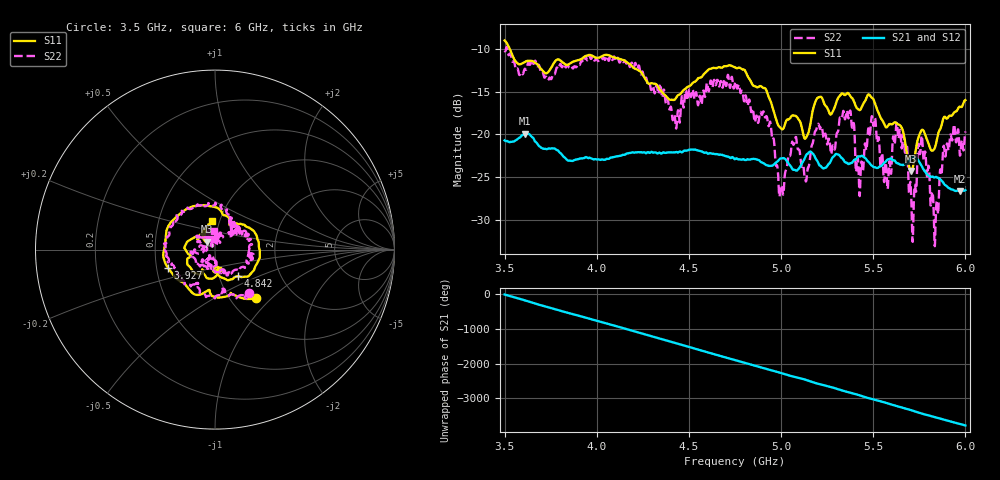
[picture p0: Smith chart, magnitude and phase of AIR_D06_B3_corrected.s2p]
! Created with skrf 1.9.0 (http://scikit-rf.org).
# Hz S RI R 50.0
!freq ReS11 ImS11 ReS21 ImS21 ReS12 ImS12 ReS22 ImS22
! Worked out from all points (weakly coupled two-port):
!   1601 points, 3.5 GHz to 6 GHz, reference 50 ohm
!   highest |S21| = -19.90 dB at 3.612 GHz (marker M1); lowest = -26.6 dB at 5.97 GHz (marker M2)
!   lowest |S11| = -24.3 dB at 5.705 GHz (marker M3), VSWR 1.13, Z = 45.7 + j3.99 ohm
!   |S11| at or under -10 dB: 3.528 GHz to end of sweep
!   |S22| runs from -33.0 to -9.8 dB; largest |S21 - S12| = 0.0011
!   S11 on the Smith chart (normalised r, x): 3.5 GHz: 1.31, -0.81; 3.927 GHz: 0.58, -0.13; 4.842 GHz: 1.23, -0.38; 6 GHz: 0.92, +0.30
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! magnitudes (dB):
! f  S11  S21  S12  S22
! 3.5 GHz  -9.0  -20.7  -20.7  -10.3
! 3.612 GHz  -11.5  -19.9  -19.9  -12.4
! 3.917 GHz  -11.2  -22.8  -22.8  -11.3
! 3.927 GHz  -11.0  -22.8  -22.7  -11.6
! 4.334 GHz  -14.5  -22.2  -22.1  -15.3
! 4.423 GHz  -15.9  -22.1  -22.1  -17.9
! 4.75 GHz  -12.2  -22.9  -22.8  -14.0
! 4.842 GHz  -14.1  -22.9  -22.8  -17.2
! 4.933 GHz  -15.6  -23.7  -23.6  -19.0
! 5.002 GHz  -19.3  -22.8  -22.8  -26.0
! 5.167 GHz  -17.7  -22.1  -22.1  -21.3
! 5.366 GHz  -15.2  -23.5  -23.4  -18.1
! 5.433 GHz  -17.0  -22.5  -22.5  -23.8
! 5.5 GHz  -15.9  -23.8  -23.7  -18.9
! 5.584 GHz  -18.9  -22.9  -22.8  -23.9
! 5.636 GHz  -18.8  -23.4  -23.3  -20.5
! 5.705 GHz  -24.3  -22.9  -22.8  -26.5
! 5.755 GHz  -19.8  -23.4  -23.3  -22.3
! 5.841 GHz  -21.1  -25.0  -24.9  -28.7
! 5.889 GHz  -17.9  -25.9  -25.8  -22.4
! 5.97 GHz  -16.8  -26.6  -26.6  -22.5
! 6 GHz  -16.0  -26.5  -26.5  -19.7
